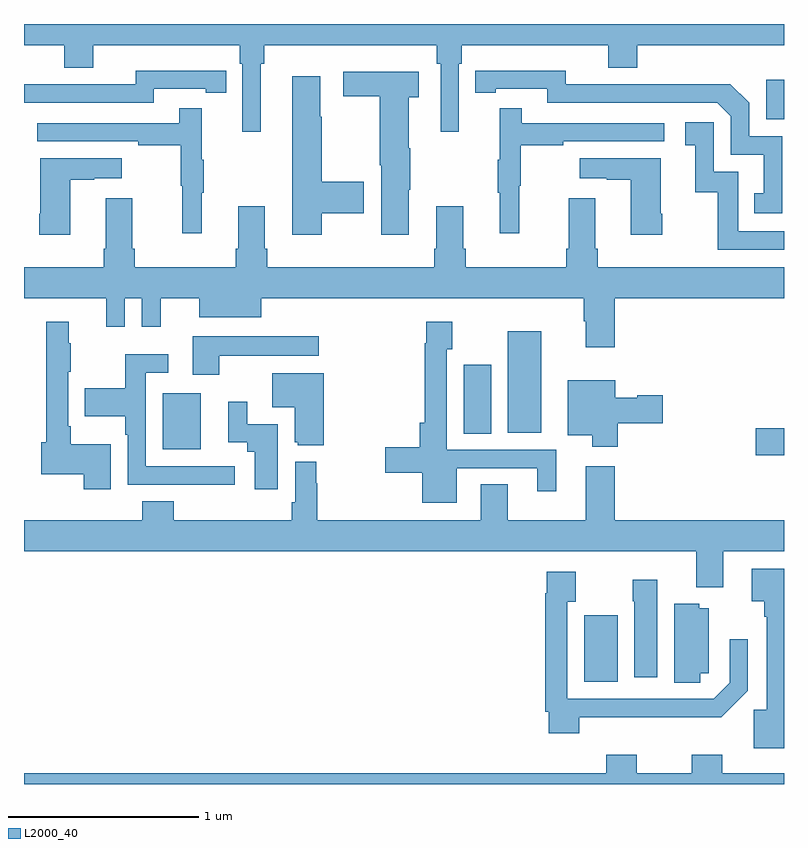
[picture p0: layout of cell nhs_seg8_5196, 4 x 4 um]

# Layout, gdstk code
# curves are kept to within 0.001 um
import gdstk
lib = gdstk.Library(unit=1e-6, precision=1e-09)
def R(c, l, rs):  # rectangles x0, y0, x1, y1
    for r in rs: c.add(gdstk.rectangle(r[:2], r[2:], *l))
def P(c, l, *ps):  # polygons
    for p in ps: c.add(gdstk.Polygon(p, *l))
L2000_40 = (2000, 40)

nhs_seg8_5196 = lib.new_cell('nhs_seg8_5196')
R(nhs_seg8_5196, L2000_40, [(426.852,1159.63,427,1159.772), (423.731,1159.661,423.931,1159.957), (425.315,1159.744,425.458,1160.107), (425.546,1159.748,425.722,1160.284), (426.906,1161.399,427,1161.607)])
P(nhs_seg8_5196, L2000_40, [(425.173,1161.692),(425.193,1161.692),(425.193,1161.333),(425.289,1161.333),(425.289,1161.692),(425.303,1161.692),(425.303,1161.788),(426.074,1161.788),(426.074,1161.671),(426.227,1161.671),(426.227,1161.788),(427,1161.788),(427,1161.9),(423,1161.9),(423,1161.788),(423.212,1161.788),(423.212,1161.671),(423.364,1161.671),(423.364,1161.788),(424.136,1161.788),(424.136,1161.692),(424.149,1161.692),(424.149,1161.333),(424.246,1161.333),(424.246,1161.692),(424.265,1161.692),(424.265,1161.788),(425.173,1161.788)],
  [(426.99,1161.309),(426.816,1161.309),(426.816,1161.486),(426.718,1161.584),(426.31,1161.584),(426.31,1161.582),(425.85,1161.582),(425.85,1161.655),(425.374,1161.654),(425.374,1161.538),(425.482,1161.538),(425.482,1161.558),(425.754,1161.558),(425.754,1161.486),(426.648,1161.486),(426.72,1161.414),(426.72,1161.213),(426.893,1161.213),(426.893,1161.009),(426.844,1161.009),(426.844,1160.904),(426.99,1160.904)],
  [(423.684,1161.558),(423.956,1161.558),(423.956,1161.538),(424.064,1161.538),(424.064,1161.654),(423.956,1161.654),(423.956,1161.655),(423.588,1161.655),(423.588,1161.582),(423.128,1161.582),(423.128,1161.584),(423,1161.584),(423,1161.486),(423.684,1161.486)],
  [(425.026,1161.028),(425.034,1161.028),(425.034,1161.245),(425.026,1161.245),(425.026,1161.515),(425.077,1161.515),(425.077,1161.649),(424.68,1161.649),(424.68,1161.52),(424.873,1161.52),(424.873,1161.157),(424.88,1161.157),(424.88,1160.79),(425.026,1160.79)],
  [(424.566,1160.903),(424.789,1160.903),(424.789,1161.069),(424.566,1161.069),(424.566,1161.412),(424.558,1161.412),(424.558,1161.625),(424.412,1161.625),(424.412,1160.79),(424.566,1160.79)],
  [(423.935,1161.011),(423.946,1161.011),(423.946,1161.185),(423.935,1161.185),(423.935,1161.457),(423.817,1161.457),(423.817,1161.378),(423.069,1161.378),(423.069,1161.282),(423.601,1161.282),(423.601,1161.262),(423.825,1161.262),(423.825,1161.048),(423.832,1161.048),(423.832,1160.799),(423.935,1160.799)],
  [(425.606,1161.048),(425.614,1161.048),(425.614,1161.262),(425.837,1161.262),(425.837,1161.282),(426.37,1161.282),(426.37,1161.378),(425.621,1161.378),(425.621,1161.457),(425.504,1161.457),(425.504,1161.185),(425.493,1161.185),(425.493,1161.011),(425.504,1161.011),(425.504,1160.799),(425.606,1160.799)],
  [(427,1160.808),(426.759,1160.808),(426.759,1161.123),(426.63,1161.123),(426.63,1161.382),(426.48,1161.382),(426.48,1161.261),(426.533,1161.261),(426.533,1161.015),(426.651,1161.015),(426.651,1160.712),(427,1160.712)],
  [(423.244,1161.079),(423.371,1161.079),(423.371,1161.089),(423.514,1161.089),(423.514,1161.193),(423.086,1161.193),(423.086,1160.902),(423.079,1160.902),(423.079,1160.79),(423.244,1160.79)],
  [(426.36,1160.902),(426.352,1160.902),(426.352,1161.193),(425.925,1161.193),(425.925,1161.089),(426.068,1161.089),(426.068,1161.079),(426.194,1161.079),(426.194,1160.79),(426.36,1160.79)],
  [(423.571,1160.716),(423.571,1160.983),(423.431,1160.983),(423.431,1160.716),(423.419,1160.716),(423.419,1160.62),(423,1160.62),(423,1160.456),(423.434,1160.456),(423.434,1160.307),(423.531,1160.307),(423.531,1160.456),(423.621,1160.456),(423.621,1160.307),(423.719,1160.307),(423.719,1160.456),(423.923,1160.456),(423.923,1160.357),(424.249,1160.357),(424.249,1160.456),(425.945,1160.456),(425.945,1160.336),(425.957,1160.336),(425.957,1160.199),(426.11,1160.199),(426.11,1160.456),(427,1160.456),(427,1160.62),(426.02,1160.62),(426.02,1160.716),(426.007,1160.716),(426.007,1160.983),(425.867,1160.983),(425.867,1160.716),(425.855,1160.716),(425.855,1160.62),(425.324,1160.62),(425.324,1160.716),(425.311,1160.716),(425.311,1160.941),(425.171,1160.941),(425.171,1160.716),(425.159,1160.716),(425.159,1160.62),(424.28,1160.62),(424.28,1160.716),(424.267,1160.716),(424.267,1160.941),(424.127,1160.941),(424.127,1160.716),(424.115,1160.716),(424.115,1160.62),(423.584,1160.62),(423.584,1160.716)],
  [(425.278,1159.563),(425.702,1159.563),(425.702,1159.44),(425.8,1159.44),(425.8,1159.659),(425.226,1159.659),(425.226,1160.187),(425.253,1160.187),(425.253,1160.332),(425.118,1160.332),(425.118,1160.219),(425.11,1160.219),(425.11,1159.801),(425.084,1159.801),(425.084,1159.673),(424.902,1159.673),(424.902,1159.538),(425.096,1159.538),(425.096,1159.379),(425.278,1159.379)],
  [(423.457,1159.687),(423.247,1159.687),(423.247,1159.783),(423.234,1159.783),(423.234,1160.071),(423.247,1160.071),(423.247,1160.219),(423.236,1160.219),(423.236,1160.332),(423.118,1160.332),(423.118,1159.7),(423.092,1159.7),(423.092,1159.529),(423.314,1159.529),(423.314,1159.452),(423.457,1159.452)],
  [(424.027,1160.153),(424.552,1160.153),(424.552,1160.257),(423.887,1160.257),(423.887,1160.055),(424.027,1160.055)],
  [(424.108,1159.572),(423.642,1159.572),(423.642,1160.064),(423.76,1160.064),(423.76,1160.161),(423.534,1160.161),(423.534,1159.983),(423.319,1159.983),(423.319,1159.835),(423.534,1159.835),(423.534,1159.739),(423.546,1159.739),(423.546,1159.476),(423.871,1159.476),(423.871,1159.475),(424.108,1159.475)],
  [(424.577,1160.062),(424.307,1160.062),(424.307,1159.883),(424.424,1159.883),(424.424,1159.698),(424.44,1159.698),(424.44,1159.682),(424.577,1159.682)],
  [(426.125,1159.799),(426.361,1159.799),(426.361,1159.946),(426.228,1159.946),(426.228,1159.933),(426.112,1159.933),(426.112,1160.026),(425.861,1160.026),(425.861,1159.736),(425.99,1159.736),(425.99,1159.674),(426.125,1159.674)],
  [(424.336,1159.794),(424.174,1159.794),(424.174,1159.912),(424.076,1159.912),(424.076,1159.698),(424.175,1159.698),(424.175,1159.648),(424.214,1159.648),(424.214,1159.452),(424.336,1159.452)],
  [(426.679,1159.124),(427,1159.124),(427,1159.288),(426.11,1159.288),(426.11,1159.573),(425.957,1159.573),(425.957,1159.288),(425.545,1159.288),(425.545,1159.478),(425.405,1159.478),(425.405,1159.288),(424.544,1159.288),(424.544,1159.484),(424.537,1159.484),(424.537,1159.597),(424.428,1159.597),(424.428,1159.384),(424.408,1159.384),(424.408,1159.288),(423.788,1159.288),(423.788,1159.387),(423.623,1159.387),(423.623,1159.288),(423,1159.288),(423,1159.124),(426.539,1159.124),(426.539,1158.935),(426.679,1158.935)],
  [(427,1159.033),(426.831,1159.033),(426.831,1158.863),(426.897,1158.863),(426.897,1158.779),(426.909,1158.779),(426.909,1158.291),(426.84,1158.291),(426.84,1158.087),(427,1158.087)],
  [(425.923,1158.251),(426.669,1158.251),(426.81,1158.392),(426.81,1158.661),(426.714,1158.661),(426.714,1158.432),(426.63,1158.348),(425.859,1158.348),(425.859,1158.858),(425.905,1158.858),(425.905,1159.018),(425.751,1159.018),(425.751,1158.905),(425.743,1158.905),(425.743,1158.28),(425.762,1158.28),(425.762,1158.168),(425.923,1158.168)],
  [(426.334,1158.976),(426.205,1158.976),(426.205,1158.863),(426.212,1158.863),(426.212,1158.462),(426.334,1158.462)],
  [(426.558,1158.483),(426.604,1158.483),(426.604,1158.826),(426.555,1158.826),(426.555,1158.85),(426.422,1158.85),(426.422,1158.433),(426.558,1158.433)],
  [(426.124,1158.789),(425.949,1158.789),(425.949,1158.686),(425.948,1158.686),(425.948,1158.437),(426.124,1158.437)],
  [(427,1157.956),(426.674,1157.956),(426.674,1158.055),(426.514,1158.055),(426.514,1157.956),(426.225,1157.956),(426.225,1158.055),(426.065,1158.055),(426.065,1157.956),(423,1157.956),(423,1157.9),(427,1157.9)])

lib.write_gds('nhs_seg8_5196.gds')
